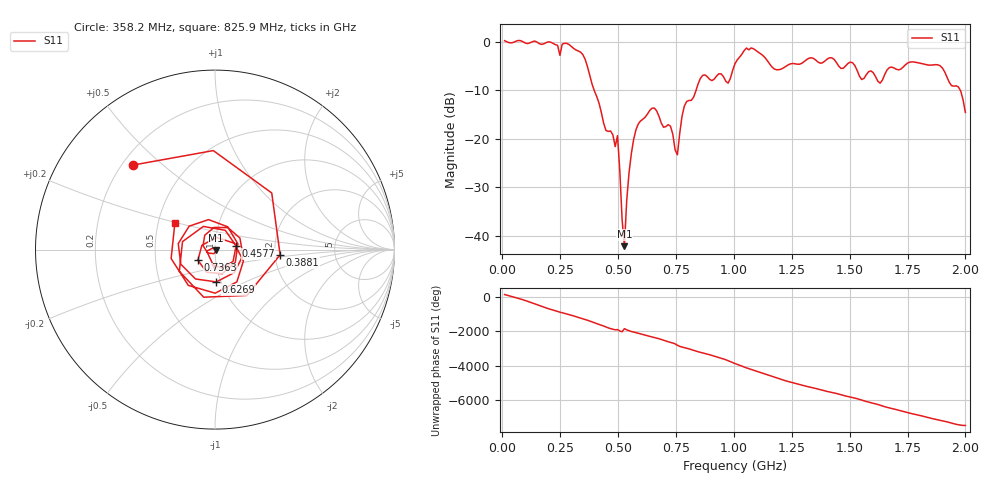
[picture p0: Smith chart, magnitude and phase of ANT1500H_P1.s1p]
!Created with skrf (http://scikit-rf.org).
# Hz S RI R 50.0
!freq ReS11 ImS11
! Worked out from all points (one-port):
!   201 points, 10 MHz to 2 GHz, reference 50 ohm
!   lowest |S11| = -42.1 dB at 527.4 MHz (marker M1), VSWR 1.02, Z = 50.6 - j0.463 ohm
!   |S11| at or under -10 dB: 397 MHz to 836.8 MHz (439.7 MHz wide, 71.3 % of centre); 1.978 GHz to end of sweep
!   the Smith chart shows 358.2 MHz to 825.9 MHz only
!   S11 on the Smith chart (normalised r, x): 358.2 MHz: 0.24, +0.40; 388.1 MHz: 2.13, -0.14; 457.8 MHz: 1.27, +0.05; 626.9 MHz: 0.95, -0.35; 736.4 MHz: 0.82, -0.10; 825.9 MHz: 0.61, +0.19
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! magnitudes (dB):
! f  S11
! 10 MHz  0.2
! 258.8 MHz  -0.5
! 358.2 MHz  -3.7
! 388.1 MHz  -8.8
! 457.8 MHz  -18.5
! 487.6 MHz  -21.6
! 497.6 MHz  -19.3
! 507.5 MHz  -26.6
! 527.4 MHz  -42.1
! 547.3 MHz  -27.0
! 567.2 MHz  -20.1
! 626.9 MHz  -14.9
! 736.4 MHz  -19.0
! 756.2 MHz  -23.3
! 786.1 MHz  -13.3
! 825.9 MHz  -11.4
! 865.7 MHz  -6.9
! 975.1 MHz  -8.5
! 1.005 GHz  -4.5
! 1.075 GHz  -1.3
! 1.174 GHz  -5.6
! 1.254 GHz  -4.5
! 1.502 GHz  -4.2
! 1.632 GHz  -8.5
! 1.751 GHz  -4.3
! 1.891 GHz  -4.9
! 1.98 GHz  -10.2
! 2 GHz  -14.5
